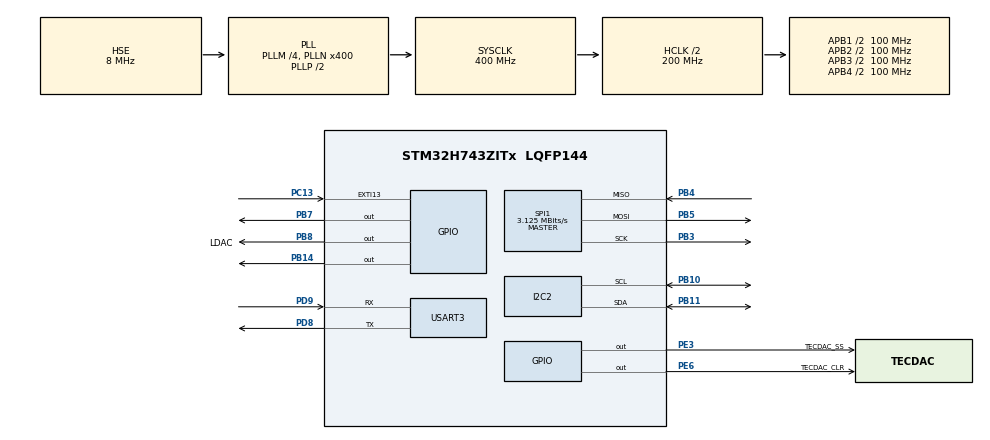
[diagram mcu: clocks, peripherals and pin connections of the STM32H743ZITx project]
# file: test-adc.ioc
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CORTEX_M7.default_mode_Activation=1
Dma.Request0=USART3_RX
Dma.Request1=USART3_TX
Dma.USART3_RX.0.Direction=DMA_PERIPH_TO_MEMORY
Dma.USART3_RX.0.EventEnable=DISABLE
Dma.USART3_RX.0.FIFOMode=DMA_FIFOMODE_DISABLE
Dma.USART3_RX.0.Instance=DMA1_Stream0
Dma.USART3_RX.0.MemDataAlignment=DMA_MDATAALIGN_BYTE
Dma.USART3_RX.0.MemInc=DMA_MINC_ENABLE
Dma.USART3_RX.0.Mode=DMA_NORMAL
Dma.USART3_RX.0.PeriphDataAlignment=DMA_PDATAALIGN_BYTE
Dma.USART3_RX.0.PeriphInc=DMA_PINC_DISABLE
Dma.USART3_RX.0.Polarity=HAL_DMAMUX_REQ_GEN_RISING
Dma.USART3_RX.0.Priority=DMA_PRIORITY_LOW
Dma.USART3_RX.0.RequestNumber=1
Dma.USART3_RX.0.SignalID=NONE
Dma.USART3_RX.0.SyncEnable=DISABLE
Dma.USART3_RX.0.SyncPolarity=HAL_DMAMUX_SYNC_NO_EVENT
Dma.USART3_RX.0.SyncRequestNumber=1
Dma.USART3_RX.0.SyncSignalID=NONE
Dma.USART3_TX.1.Direction=DMA_MEMORY_TO_PERIPH
Dma.USART3_TX.1.EventEnable=DISABLE
Dma.USART3_TX.1.FIFOMode=DMA_FIFOMODE_DISABLE
Dma.USART3_TX.1.Instance=DMA1_Stream1
Dma.USART3_TX.1.MemDataAlignment=DMA_MDATAALIGN_BYTE
Dma.USART3_TX.1.MemInc=DMA_MINC_ENABLE
Dma.USART3_TX.1.Mode=DMA_NORMAL
Dma.USART3_TX.1.PeriphDataAlignment=DMA_PDATAALIGN_BYTE
Dma.USART3_TX.1.PeriphInc=DMA_PINC_DISABLE
Dma.USART3_TX.1.Polarity=HAL_DMAMUX_REQ_GEN_RISING
Dma.USART3_TX.1.Priority=DMA_PRIORITY_LOW
Dma.USART3_TX.1.RequestNumber=1
Dma.USART3_TX.1.SignalID=NONE
Dma.USART3_TX.1.SyncEnable=DISABLE
Dma.USART3_TX.1.SyncPolarity=HAL_DMAMUX_SYNC_NO_EVENT
Dma.USART3_TX.1.SyncRequestNumber=1
Dma.USART3_TX.1.SyncSignalID=NONE
I2C2.Timing=0x10C0ECFF
Mcu.Family=STM32H7
Mcu.Name=STM32H743ZITx
Mcu.Package=LQFP144
NUCLEO-H743ZI.BUTTON=1
NUCLEO-H743ZI.LD1=true
NUCLEO-H743ZI.LD2=true
NUCLEO-H743ZI.LD3=true
NUCLEO-H743ZI.VCP=false
NVIC.DMA1_Stream0_IRQn=true\:0\:0\:false\:false\:true\:false\:true\:true
NVIC.DMA1_Stream1_IRQn=true\:0\:0\:false\:false\:true\:false\:true\:true
NVIC.EXTI15_10_IRQn=true\:0\:0\:false\:false\:true\:false\:true\:true
NVIC.I2C2_ER_IRQn=true\:0\:0\:false\:false\:true\:true\:true\:true
NVIC.I2C2_EV_IRQn=true\:0\:0\:false\:false\:true\:true\:true\:true
NVIC.PriorityGroup=NVIC_PRIORITYGROUP_4
NVIC.TIM7_IRQn=true\:15\:0\:false\:false\:true\:false\:true\:true
NVIC.TimeBase=TIM7_IRQn
NVIC.TimeBaseIP=TIM7
NVIC.USART3_IRQn=true\:0\:0\:false\:false\:true\:true\:true\:true
PA13\ (JTMS/SWDIO).GPIO_Label=TMS
PA13\ (JTMS/SWDIO).Mode=Serial_Wire
PA13\ (JTMS/SWDIO).Signal=DEBUG_JTMS-SWDIO
PA14\ (JTCK/SWCLK).GPIO_Label=TCK
PA14\ (JTCK/SWCLK).Mode=Serial_Wire
PA14\ (JTCK/SWCLK).Signal=DEBUG_JTCK-SWCLK
PB10.Mode=I2C
PB10.Signal=I2C2_SCL
PB11.Mode=I2C
PB11.Signal=I2C2_SDA
PB14.Signal=GPIO_Output
PB3\ (JTDO/TRACESWO).Mode=Full_Duplex_Master
PB3\ (JTDO/TRACESWO).Signal=SPI1_SCK
PB4\ (NJTRST).Mode=Full_Duplex_Master
PB4\ (NJTRST).Signal=SPI1_MISO
PB5.Mode=Full_Duplex_Master
PB5.Signal=SPI1_MOSI
PB7.Signal=GPIO_Output
PB8.GPIO_Label=LDAC
PB8.PinState=GPIO_PIN_SET
PB8.Signal=GPIO_Output
PC13.Signal=GPXTI13
PC14-OSC32_IN\ (OSC32_IN).Signal=RCC_OSC32_IN
PC15-OSC32_OUT\ (OSC32_OUT).Signal=RCC_OSC32_OUT
PD8.Mode=Asynchronous
PD8.Signal=USART3_TX
PD9.Mode=Asynchronous
PD9.Signal=USART3_RX
PE3.GPIO_Label=TECDAC_SS
PE3.PinState=GPIO_PIN_SET
PE3.Signal=GPIO_Output
PE6.GPIO_Label=TECDAC_CLR
PE6.PinState=GPIO_PIN_SET
PE6.Signal=GPIO_Output
PH0-OSC_IN\ (PH0).Mode=HSE-External-Clock-Source
PH0-OSC_IN\ (PH0).Signal=RCC_OSC_IN
ProjectManager.HeapSize=0x200
ProjectManager.StackSize=0x400
ProjectManager.TargetToolchain=STM32CubeIDE
RCC.48MHZClocksFreq_Value=24000000
RCC.ADCFreq_Value=16125000
RCC.AHBFreq_Value=216000000
RCC.APB1CLKDivider=RCC_HCLK_DIV4
RCC.APB1Freq_Value=100000000
RCC.APB1TimFreq_Value=108000000
RCC.APB2CLKDivider=RCC_HCLK_DIV2
RCC.APB2Freq_Value=100000000
RCC.APB2TimFreq_Value=216000000
RCC.APB3Freq_Value=100000000
RCC.APB4Freq_Value=100000000
RCC.CortexFreq_Value=400000000
RCC.D1PPRE=RCC_APB3_DIV2
RCC.D2PPRE1=RCC_APB1_DIV2
RCC.D2PPRE2=RCC_APB2_DIV2
RCC.D3PPRE=RCC_APB4_DIV2
RCC.DIVM1=4
RCC.DIVN1=400
RCC.DIVQ1=4
RCC.HCLKFreq_Value=200000000
RCC.HPRE=RCC_HCLK_DIV2
RCC.HSE_VALUE=8000000
RCC.HSI_VALUE=64000000
RCC.PLLM=25
RCC.PLLMUL=RCC_PLL_MUL9
RCC.PLLN=432
RCC.PLLQ=9
RCC.PLLSourceVirtual=RCC_PLLSOURCE_HSE
RCC.PRESCALERUSB=RCC_USBCLKSOURCE_PLL_DIV1_5
RCC.PWR_Regulator_Voltage_Scale=PWR_REGULATOR_VOLTAGE_SCALE1
RCC.SYSCLKFreq_VALUE=400000000
RCC.SYSCLKSource=RCC_SYSCLKSOURCE_PLLCLK
RCC.SYSCLKSourceVirtual=RCC_SYSCLKSOURCE_PLLCLK
RCC.USBFreq_Value=200000000
RCC.VCOOutputFreq_Value=432000000
SPI1.BaudRatePrescaler=SPI_BAUDRATEPRESCALER_64
SPI1.CLKPhase=SPI_PHASE_2EDGE
SPI1.CLKPolarity=SPI_POLARITY_LOW
SPI1.CalculateBaudRate=3.125 MBits/s
SPI1.DataSize=SPI_DATASIZE_8BIT
SPI1.Direction=SPI_DIRECTION_2LINES
SPI1.Mode=SPI_MODE_MASTER
SPI1.NSSPMode=SPI_NSS_PULSE_DISABLE
SPI1.NSSPolarity=SPI_NSS_POLARITY_HIGH
SPI1.VirtualType=VM_MASTER
USART3.VirtualMode-Asynchronous=VM_ASYNC
VP_CRC_VS_CRC.Mode=CRC_Activate
VP_MEMORYMAP_VS_MEMORYMAP.Mode=CurAppReg
VP_NUCLEO-H743ZI_VS_BSP_COMMON.Mode=COMMON
VP_SYS_VS_tim7.Mode=TIM7
board=NUCLEO-H743ZI

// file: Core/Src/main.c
/* USER CODE BEGIN Header */
/**
  ******************************************************************************
  * @file           : main.c
  * @brief          : Main program body
  ******************************************************************************
  * @attention
  *
  * Copyright (c) 2025 STMicroelectronics.
  * All rights reserved.
  *
  * This software is licensed under terms that can be found in the LICENSE file
  * in the root directory of this software component.
  * If no LICENSE file comes with this software, it is provided AS-IS.
  *
  ******************************************************************************
  */
/* USER CODE END Header */
#include "main.h"

/* USER CODE BEGIN Includes */
#include "logging.h"
#include "ads7828.h"
#include "ad5761r.h"
#include "utils.h"

#include <stdio.h>
#include <string.h>
#include <stdbool.h>

/* USER CODE END Includes */

CRC_HandleTypeDef hcrc;

I2C_HandleTypeDef hi2c2;

SPI_HandleTypeDef hspi1;

UART_HandleTypeDef huart3;
DMA_HandleTypeDef hdma_usart3_rx;
DMA_HandleTypeDef hdma_usart3_tx;

void SystemClock_Config(void);
static void MPU_Config(void);
static void MX_GPIO_Init(void);
static void MX_DMA_Init(void);
static void MX_I2C2_Init(void);
static void MX_USART3_UART_Init(void);
static void MX_CRC_Init(void);
static void MX_SPI1_Init(void);
/* USER CODE BEGIN PFP */
extern ADS7828_HandleTypeDef adc_mon[2];
ad5761r_dev tec_dac;

/* USER CODE END PFP */

int main(void)
{

  /* MPU Configuration--------------------------------------------------------*/
  MPU_Config();

  /* MCU Configuration--------------------------------------------------------*/

  /* Reset of all peripherals, Initializes the Flash interface and the Systick. */
  HAL_Init();

  /* Configure the system clock */
  SystemClock_Config();

  /* Initialize all configured peripherals */
  MX_GPIO_Init();
  MX_DMA_Init();
  MX_I2C2_Init();
  MX_USART3_UART_Init();
  MX_CRC_Init();
  MX_SPI1_Init();
  /* USER CODE BEGIN 2 */
  uint16_t reg_data;

  init_dma_logging();
  DWT_Init();

  printf("\033c");
  HAL_Delay(250);
  printf("DAC-ADC Testing\r\n");

  // setup PDU monitor
  if((ADS7828_Init(&adc_mon[0], &hi2c2, 0x00) != HAL_OK) & (ADS7828_SetPowerMode(&adc_mon[0], ADS7828_PD_ON_REF_ON) != HAL_OK))
  {
	  printf("Failed to initialize ADC0\r\n");
  }

  // configure TEC DAC
  printf("Initialize TEC DAC\r\n");

  ad5761r_dev tec_dac = {
	  .hspi = &hspi1,
	  .cs_port=TECDAC_SS_GPIO_Port, .cs_pin=TECDAC_SS_Pin,
	  .ldac_port=NULL, .ldac_pin=0,     // tie LDAC low on PCB or leave pulled-up
	  .clr_port=NULL,  .clr_pin=0,
	  .rst_port=NULL,  .rst_pin=0,

	  .type=AD5761R,
	  .ra=AD5761R_RANGE_0V_TO_P_5V,
	  .pv=AD5761R_SCALE_FULL,
	  .cv=AD5761R_SCALE_FULL,
	  .int_ref_en=true,
	  .exc_temp_sd_en=true,
	  .b2c_range_en=false,
	  .ovr_en=false,
	  .daisy_chain_en=false
  };

  if(ad5761r_init(&tec_dac) != HAL_OK){
      printf("Failed to Initialize the TEC DAC\r\n");
  }

#if 1
  //ad5761r_write(&tec_dac, 0x0F, 0x0000);
  //ad5761r_write(&tec_dac, 0x04, 0x0433);
  uint16_t val = volts_to_code(&tec_dac, 1.50f);
  printf("VAL: 0x%04X\r\n", val);
  ad5761r_write_update_dac_register(&tec_dac, val);
  ad5761r_read(&tec_dac, CMD_RD_DAC_REG, &reg_data);
  printf("Read DAC Data 0x%04X\r\n", reg_data); // This should now also be 0xFFFF
#else

  if(ad5761r_write(&tec_dac, CMD_SW_DATA_RESET, 0x0000) != HAL_OK){
      printf("Failed to write control register of TEC DAC\r\n");
  }
  else
  {
	uint16_t reg_data;
	if(ad5761r_write(&tec_dac, CMD_WR_CTRL_REG, 0x0433) != HAL_OK){
	  printf("Failed to write control register of TEC DAC\r\n");
	}

	ad5761r_read(&tec_dac, CMD_RD_CTRL_REG, &reg_data);
	printf("Read Control REG 0x%04X\r\n", reg_data);

	// 1. Write the desired value to the input register
	ad5761r_write(&tec_dac, CMD_WR_UPDATE_DAC_REG, 0x7FFF);

	/*
	if(tec_dac.ldac_port){
	  HAL_GPIO_WritePin(tec_dac.ldac_port, tec_dac.ldac_pin, GPIO_PIN_RESET);
	  HAL_Delay(1);
	  HAL_GPIO_WritePin(tec_dac.ldac_port, tec_dac.ldac_pin, GPIO_PIN_SET);
	}
	*/

	ad5761r_read(&tec_dac, CMD_RD_DAC_REG, &reg_data);
	printf("Read DAC Data 0x%04X\r\n", reg_data); // This should now also be 0xFFFF

  }
#endif
  /* USER CODE END 2 */

  /* Initialize leds */
  BSP_LED_Init(LED_GREEN);
  BSP_LED_Init(LED_BLUE);
  BSP_LED_Init(LED_RED);

  /* Initialize USER push-button, will be used to trigger an interrupt each time it's pressed.*/
  BSP_PB_Init(BUTTON_USER, BUTTON_MODE_EXTI);

  /* Infinite loop */
  /* USER CODE BEGIN WHILE */
  uint32_t count = 0;
  uint16_t result = 0;
  while (1)
  {

    /* USER CODE END WHILE */

    /* USER CODE BEGIN 3 */
	  HAL_Delay(250);
	  BSP_LED_Toggle(LED_BLUE);
	  if(count%8 == 0){
		// ADS7828_ReadChannel(&adc_mon[0],0,&result);
		// printf("Measure: %d Voltage %f\r\n", result, ADS7828_ConvertToVoltage(result, 3.3));

	  }
	  count++;

  }
  /* USER CODE END 3 */
}

void SystemClock_Config(void)
{
  RCC_OscInitTypeDef RCC_OscInitStruct = {0};
  RCC_ClkInitTypeDef RCC_ClkInitStruct = {0};

  /** Supply configuration update enable
  */
  HAL_PWREx_ConfigSupply(PWR_LDO_SUPPLY);

  /** Configure the main internal regulator output voltage
  */
  __HAL_PWR_VOLTAGESCALING_CONFIG(PWR_REGULATOR_VOLTAGE_SCALE1);

  while(!__HAL_PWR_GET_FLAG(PWR_FLAG_VOSRDY)) {}

  /** Initializes the RCC Oscillators according to the specified parameters
  * in the RCC_OscInitTypeDef structure.
  */
  RCC_OscInitStruct.OscillatorType = RCC_OSCILLATORTYPE_HSE;
  RCC_OscInitStruct.HSEState = RCC_HSE_BYPASS;
  RCC_OscInitStruct.PLL.PLLState = RCC_PLL_ON;
  RCC_OscInitStruct.PLL.PLLSource = RCC_PLLSOURCE_HSE;
  RCC_OscInitStruct.PLL.PLLM = 4;
  RCC_OscInitStruct.PLL.PLLN = 400;
  RCC_OscInitStruct.PLL.PLLP = 2;
  RCC_OscInitStruct.PLL.PLLQ = 4;
  RCC_OscInitStruct.PLL.PLLR = 2;
  RCC_OscInitStruct.PLL.PLLRGE = RCC_PLL1VCIRANGE_1;
  RCC_OscInitStruct.PLL.PLLVCOSEL = RCC_PLL1VCOWIDE;
  RCC_OscInitStruct.PLL.PLLFRACN = 0;
  if (HAL_RCC_OscConfig(&RCC_OscInitStruct) != HAL_OK)
  {
    Error_Handler();
  }

  /** Initializes the CPU, AHB and APB buses clocks
  */
  RCC_ClkInitStruct.ClockType = RCC_CLOCKTYPE_HCLK|RCC_CLOCKTYPE_SYSCLK
                              |RCC_CLOCKTYPE_PCLK1|RCC_CLOCKTYPE_PCLK2
                              |RCC_CLOCKTYPE_D3PCLK1|RCC_CLOCKTYPE_D1PCLK1;
  RCC_ClkInitStruct.SYSCLKSource = RCC_SYSCLKSOURCE_PLLCLK;
  RCC_ClkInitStruct.SYSCLKDivider = RCC_SYSCLK_DIV1;
  RCC_ClkInitStruct.AHBCLKDivider = RCC_HCLK_DIV2;
  RCC_ClkInitStruct.APB3CLKDivider = RCC_APB3_DIV2;
  RCC_ClkInitStruct.APB1CLKDivider = RCC_APB1_DIV2;
  RCC_ClkInitStruct.APB2CLKDivider = RCC_APB2_DIV2;
  RCC_ClkInitStruct.APB4CLKDivider = RCC_APB4_DIV2;

  if (HAL_RCC_ClockConfig(&RCC_ClkInitStruct, FLASH_LATENCY_2) != HAL_OK)
  {
    Error_Handler();
  }
}

static void MX_CRC_Init(void)
{

  hcrc.Instance = CRC;
  hcrc.Init.DefaultPolynomialUse = DEFAULT_POLYNOMIAL_ENABLE;
  hcrc.Init.DefaultInitValueUse = DEFAULT_INIT_VALUE_ENABLE;
  hcrc.Init.InputDataInversionMode = CRC_INPUTDATA_INVERSION_NONE;
  hcrc.Init.OutputDataInversionMode = CRC_OUTPUTDATA_INVERSION_DISABLE;
  hcrc.InputDataFormat = CRC_INPUTDATA_FORMAT_BYTES;
  if (HAL_CRC_Init(&hcrc) != HAL_OK)
  {
    Error_Handler();
  }

}

static void MX_I2C2_Init(void)
{

  hi2c2.Instance = I2C2;
  hi2c2.Init.Timing = 0x10C0ECFF;
  hi2c2.Init.OwnAddress1 = 0;
  hi2c2.Init.AddressingMode = I2C_ADDRESSINGMODE_7BIT;
  hi2c2.Init.DualAddressMode = I2C_DUALADDRESS_DISABLE;
  hi2c2.Init.OwnAddress2 = 0;
  hi2c2.Init.OwnAddress2Masks = I2C_OA2_NOMASK;
  hi2c2.Init.GeneralCallMode = I2C_GENERALCALL_DISABLE;
  hi2c2.Init.NoStretchMode = I2C_NOSTRETCH_DISABLE;
  if (HAL_I2C_Init(&hi2c2) != HAL_OK)
  {
    Error_Handler();
  }

  /** Configure Analogue filter
  */
  if (HAL_I2CEx_ConfigAnalogFilter(&hi2c2, I2C_ANALOGFILTER_ENABLE) != HAL_OK)
  {
    Error_Handler();
  }

  /** Configure Digital filter
  */
  if (HAL_I2CEx_ConfigDigitalFilter(&hi2c2, 0) != HAL_OK)
  {
    Error_Handler();
  }

}

static void MX_SPI1_Init(void)
{

  /* SPI1 parameter configuration*/
  hspi1.Instance = SPI1;
  hspi1.Init.Mode = SPI_MODE_MASTER;
  hspi1.Init.Direction = SPI_DIRECTION_2LINES;
  hspi1.Init.DataSize = SPI_DATASIZE_8BIT;
  hspi1.Init.CLKPolarity = SPI_POLARITY_LOW;
  hspi1.Init.CLKPhase = SPI_PHASE_2EDGE;
  hspi1.Init.NSS = SPI_NSS_SOFT;
  hspi1.Init.BaudRatePrescaler = SPI_BAUDRATEPRESCALER_64;
  hspi1.Init.FirstBit = SPI_FIRSTBIT_MSB;
  hspi1.Init.TIMode = SPI_TIMODE_DISABLE;
  hspi1.Init.CRCCalculation = SPI_CRCCALCULATION_DISABLE;
  hspi1.Init.CRCPolynomial = 0x0;
  hspi1.Init.NSSPMode = SPI_NSS_PULSE_DISABLE;
  hspi1.Init.NSSPolarity = SPI_NSS_POLARITY_HIGH;
  hspi1.Init.FifoThreshold = SPI_FIFO_THRESHOLD_01DATA;
  hspi1.Init.TxCRCInitializationPattern = SPI_CRC_INITIALIZATION_ALL_ZERO_PATTERN;
  hspi1.Init.RxCRCInitializationPattern = SPI_CRC_INITIALIZATION_ALL_ZERO_PATTERN;
  hspi1.Init.MasterSSIdleness = SPI_MASTER_SS_IDLENESS_00CYCLE;
  hspi1.Init.MasterInterDataIdleness = SPI_MASTER_INTERDATA_IDLENESS_00CYCLE;
  hspi1.Init.MasterReceiverAutoSusp = SPI_MASTER_RX_AUTOSUSP_DISABLE;
  hspi1.Init.MasterKeepIOState = SPI_MASTER_KEEP_IO_STATE_DISABLE;
  hspi1.Init.IOSwap = SPI_IO_SWAP_DISABLE;
  if (HAL_SPI_Init(&hspi1) != HAL_OK)
  {
    Error_Handler();
  }

}

static void MX_USART3_UART_Init(void)
{

  huart3.Instance = USART3;
  huart3.Init.BaudRate = 115200;
  huart3.Init.WordLength = UART_WORDLENGTH_8B;
  huart3.Init.StopBits = UART_STOPBITS_1;
  huart3.Init.Parity = UART_PARITY_NONE;
  huart3.Init.Mode = UART_MODE_TX_RX;
  huart3.Init.HwFlowCtl = UART_HWCONTROL_NONE;
  huart3.Init.OverSampling = UART_OVERSAMPLING_16;
  huart3.Init.OneBitSampling = UART_ONE_BIT_SAMPLE_DISABLE;
  huart3.Init.ClockPrescaler = UART_PRESCALER_DIV1;
  huart3.AdvancedInit.AdvFeatureInit = UART_ADVFEATURE_NO_INIT;
  if (HAL_UART_Init(&huart3) != HAL_OK)
  {
    Error_Handler();
  }
  if (HAL_UARTEx_SetTxFifoThreshold(&huart3, UART_TXFIFO_THRESHOLD_1_8) != HAL_OK)
  {
    Error_Handler();
  }
  if (HAL_UARTEx_SetRxFifoThreshold(&huart3, UART_RXFIFO_THRESHOLD_1_8) != HAL_OK)
  {
    Error_Handler();
  }
  if (HAL_UARTEx_DisableFifoMode(&huart3) != HAL_OK)
  {
    Error_Handler();
  }

}

static void MX_DMA_Init(void)
{

  /* DMA controller clock enable */
  __HAL_RCC_DMA1_CLK_ENABLE();

  /* DMA interrupt init */
  /* DMA1_Stream0_IRQn interrupt configuration */
  HAL_NVIC_SetPriority(DMA1_Stream0_IRQn, 0, 0);
  HAL_NVIC_EnableIRQ(DMA1_Stream0_IRQn);
  /* DMA1_Stream1_IRQn interrupt configuration */
  HAL_NVIC_SetPriority(DMA1_Stream1_IRQn, 0, 0);
  HAL_NVIC_EnableIRQ(DMA1_Stream1_IRQn);

}

static void MX_GPIO_Init(void)
{
  GPIO_InitTypeDef GPIO_InitStruct = {0};

  /* GPIO Ports Clock Enable */
  __HAL_RCC_GPIOE_CLK_ENABLE();
  __HAL_RCC_GPIOC_CLK_ENABLE();
  __HAL_RCC_GPIOH_CLK_ENABLE();
  __HAL_RCC_GPIOB_CLK_ENABLE();
  __HAL_RCC_GPIOD_CLK_ENABLE();
  __HAL_RCC_GPIOA_CLK_ENABLE();

  /*Configure GPIO pin Output Level */
  HAL_GPIO_WritePin(GPIOE, TECDAC_SS_Pin|TECDAC_CLR_Pin, GPIO_PIN_SET);

  /*Configure GPIO pin Output Level */
  HAL_GPIO_WritePin(LDAC_GPIO_Port, LDAC_Pin, GPIO_PIN_SET);

  /*Configure GPIO pins : TECDAC_SS_Pin TECDAC_CLR_Pin */
  GPIO_InitStruct.Pin = TECDAC_SS_Pin|TECDAC_CLR_Pin;
  GPIO_InitStruct.Mode = GPIO_MODE_OUTPUT_PP;
  GPIO_InitStruct.Pull = GPIO_NOPULL;
  GPIO_InitStruct.Speed = GPIO_SPEED_FREQ_LOW;
  HAL_GPIO_Init(GPIOE, &GPIO_InitStruct);

  /*Configure GPIO pin : LDAC_Pin */
  GPIO_InitStruct.Pin = LDAC_Pin;
  GPIO_InitStruct.Mode = GPIO_MODE_OUTPUT_PP;
  GPIO_InitStruct.Pull = GPIO_NOPULL;
  GPIO_InitStruct.Speed = GPIO_SPEED_FREQ_LOW;
  HAL_GPIO_Init(LDAC_GPIO_Port, &GPIO_InitStruct);

}

/* USER CODE BEGIN 4 */
void HAL_UART_TxCpltCallback(UART_HandleTypeDef *huart)
{
	if(huart->Instance == USART3)
	{
		logging_UART_TxCpltCallback(huart);
	}
}

/* USER CODE END 4 */

 /* MPU Configuration */

void MPU_Config(void)
{
  MPU_Region_InitTypeDef MPU_InitStruct = {0};

  /* Disables the MPU */
  HAL_MPU_Disable();

  /** Initializes and configures the Region and the memory to be protected
  */
  MPU_InitStruct.Enable = MPU_REGION_ENABLE;
  MPU_InitStruct.Number = MPU_REGION_NUMBER0;
  MPU_InitStruct.BaseAddress = 0x0;
  MPU_InitStruct.Size = MPU_REGION_SIZE_4GB;
  MPU_InitStruct.SubRegionDisable = 0x87;
  MPU_InitStruct.TypeExtField = MPU_TEX_LEVEL0;
  MPU_InitStruct.AccessPermission = MPU_REGION_NO_ACCESS;
  MPU_InitStruct.DisableExec = MPU_INSTRUCTION_ACCESS_DISABLE;
  MPU_InitStruct.IsShareable = MPU_ACCESS_SHAREABLE;
  MPU_InitStruct.IsCacheable = MPU_ACCESS_NOT_CACHEABLE;
  MPU_InitStruct.IsBufferable = MPU_ACCESS_NOT_BUFFERABLE;

  HAL_MPU_ConfigRegion(&MPU_InitStruct);
  /* Enables the MPU */
  HAL_MPU_Enable(MPU_PRIVILEGED_DEFAULT);

}

void HAL_TIM_PeriodElapsedCallback(TIM_HandleTypeDef *htim)
{
  if (htim->Instance == TIM7)
  {
    HAL_IncTick();
  }
}

void Error_Handler(void)
{
  __disable_irq();
  while (1)
  {
  }
}
